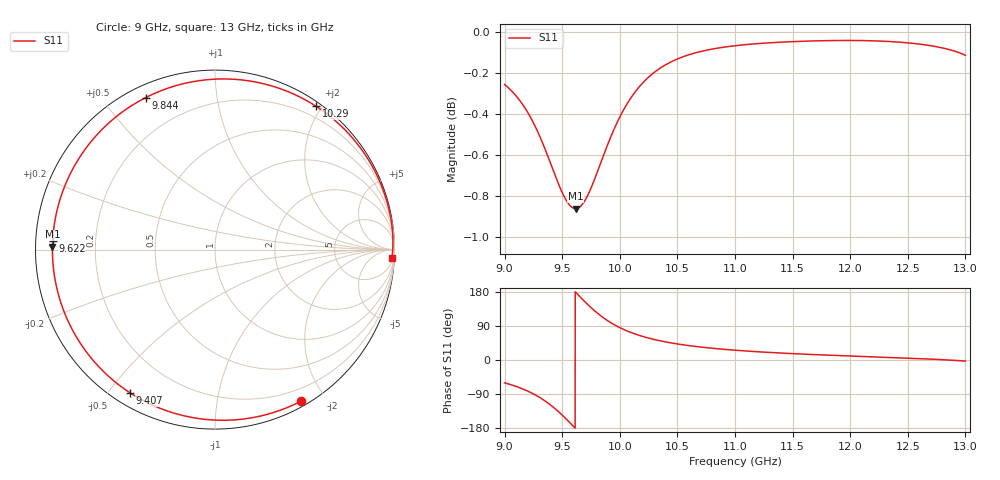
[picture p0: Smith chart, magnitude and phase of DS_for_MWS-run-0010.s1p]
! TOUCHSTONE file generated by CST DESIGN STUDIO
! Date and time: Tue Feb  4 13:46:43 2025
! Project name: C:\Work\MatlabApps\UnitCellOptimizationMatlab\CST\unitcell.cst
! Tree item: Tasks\Sweep1\SPara1\S-Parameters
! Header version: 2024
! Port assignment regex: !\s*Touchstone port\s*([0-9]+)\s*=\s*(CST MWS port|CST DES external port|CST DES block port)\s*(.+)\s* \(\"(.*)\"\)(\s*mode\s*([0-9]+))?.*
! Touchstone port assignment:
! Touchstone port 1 = CST DES external port 1 ("")
# GHz S MA R 50
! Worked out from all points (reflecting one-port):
!   4001 points, 9 GHz to 13 GHz, reference 50 ohm
!   lowest |S11| = -0.9 dB at 9.616 GHz (marker M1), VSWR 20.22, Z = 2.47 + j0.44 ohm
!   phase of S11 starts at -60 deg and turns -303 deg over the sweep
!   S11 on the Smith chart (normalised r, x): 9 GHz: 0.06, -1.72; 9.407 GHz: 0.05, -0.57; 9.622 GHz: 0.05, +0.03; 9.844 GHz: 0.05, +0.64; 10.29 GHz: 0.05, +1.93; 13 GHz: 10, -37
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9  0.9709 -60.3
9.056  0.9677 -65.3
9.128  0.9626 -72.9
9.191  0.9569 -80.8
9.253  0.95 -90.0
9.335  0.9389 -104.7
9.407  0.9277 -120.6
9.453  0.9206 -132.2
9.5  0.9139 -145.3
9.56  0.9078 -163.3
9.616  0.9057 179.0
9.622  0.9058 177.1
9.678  0.9082 159.5
9.74  0.9149 141.1
9.791  0.9223 127.3
9.844  0.9308 114.5
9.916  0.942 99.6
10  0.9534 85.4
10.067  0.9609 76.2
10.136  0.9671 68.3
10.29  0.9771 54.8
10.5  0.9849 42.3
10.72  0.9893 33.6
11  0.9922 25.8
11.5  0.9945 16.8
12  0.9951 10.5
12.5  0.9938 4.9
13  0.9869 -2.9
